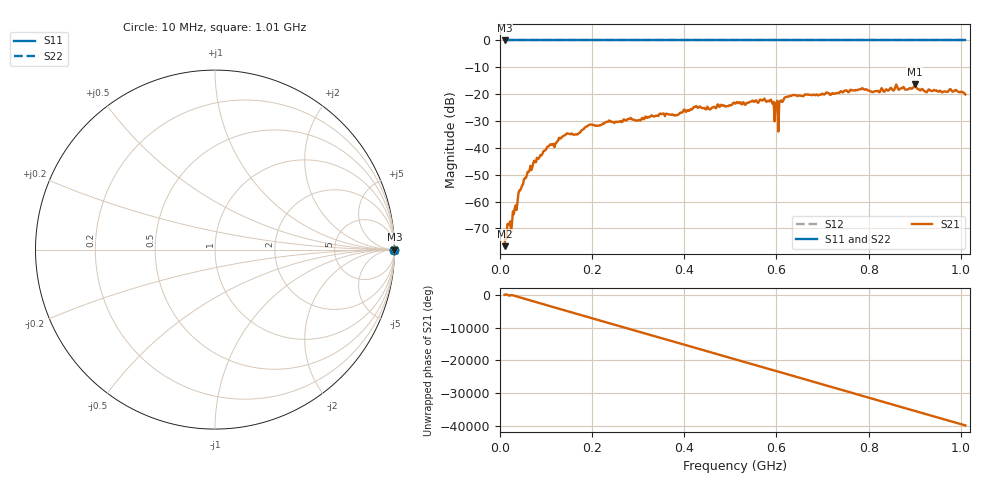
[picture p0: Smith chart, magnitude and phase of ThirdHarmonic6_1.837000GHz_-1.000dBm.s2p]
! 8/16/2025 10:14:42 PM
! C:\ANRITSUVNA\TEMP\TEMP.S2P
! CHANNEL.1
! TR.MEASUREMENT
! RAW.DATA
! RF.CORRECTION.OFF
! AVERAGING.OFF
! IF.BANDWIDTH: 5KHZ
! SWEEPTYPE:  FREQ.SWEEP(Linear)
! Reference Plane Port Info
! PORT:  PORT1  PORT2
! DISTANCE:  0  m  0  m
! TIME:  0  s  0  s
! PHASE.OFFSET:  0  deg.  0  deg.
! LOSS:  0  dB  0  dB
! REF.LOSS:  0  dB  0  dB
! REF.FREQ:  0  Hz  0  Hz
! Power Info
! POWER:  -20  dBm  -20  dBm
! EFF.POWER:  -20  dBm  -20  dBm
! SOURCE.ATTEN:  0  dB  0  dB
! TEST.ATTEN:  0  dB  0  dB
# GHZ S RI R 50.0
! FREQ.GHZ  S11RE  S11IM  S21RE  S21IM  S12RE  S12IM  S22RE  S22IM
!; PortSelection: Port_12
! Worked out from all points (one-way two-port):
!   501 points, 10 MHz to 1.01 GHz, reference 50 ohm
!   highest |S21| = -16.40 dB at 900 MHz (marker M1); lowest = -76.6 dB at 10 MHz (marker M2)
!   lowest |S11| = 0.0 dB at 10 MHz (marker M3)
!   |S11| at or under -10 dB: nowhere
!   |S22| runs from 0.0 to 0.0 dB; largest |S21 - S12| = 1.1
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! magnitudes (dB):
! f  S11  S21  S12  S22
! 10 MHz  0.0  -76.6  0.0  0.0
! 16 MHz  0.0  -68.4  0.0  0.0
! 28 MHz  0.0  -63.7  0.0  0.0
! 44 MHz  0.0  -55.8  0.0  0.0
! 76 MHz  0.0  -45.2  0.0  0.0
! 106 MHz  0.0  -39.4  0.0  0.0
! 142 MHz  0.0  -35.2  0.0  0.0
! 178 MHz  0.0  -33.4  0.0  0.0
! 196 MHz  0.0  -31.3  0.0  0.0
! 344 MHz  0.0  -28.0  0.0  0.0
! 510 MHz  0.0  -23.5  0.0  0.0
! 586 MHz  0.0  -22.3  0.0  0.0
! 598 MHz  0.0  -23.4  0.0  0.0
! 600 MHz  0.0  -23.3  0.0  0.0
! 608 MHz  0.0  -22.5  0.0  0.0
! 610 MHz  0.0  -22.3  0.0  0.0
! 622 MHz  0.0  -21.0  0.0  0.0
! 678 MHz  0.0  -20.3  0.0  0.0
! 844 MHz  0.0  -18.5  0.0  0.0
! 900 MHz  0.0  -16.4  0.0  0.0
! 924 MHz  0.0  -19.2  0.0  0.0
! 1.01 GHz  0.0  -20.1  0.0  0.0
